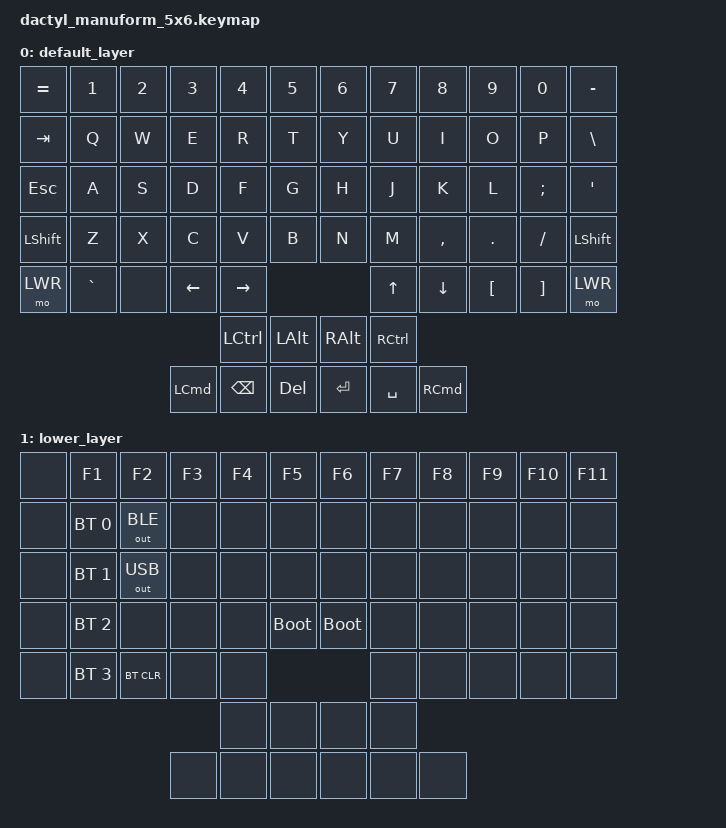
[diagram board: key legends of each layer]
#include <behaviors.dtsi>
#include <dt-bindings/zmk/keys.h>
#include <dt-bindings/zmk/bt.h>
#include <dt-bindings/zmk/outputs.h>

#define DEFAULT 0
#define LWR 1

/ {
    keymap {
        compatible = "zmk,keymap";

        default_layer {
            // display_name = "Default";
            bindings = <
                &kp EQUAL   &kp N1      &kp N2      &kp N3      &kp N4      &kp N5              &kp N6      &kp N7      &kp N8      &kp N9      &kp N0      &kp MINUS
                &kp TAB     &kp Q       &kp W       &kp E       &kp R       &kp T               &kp Y       &kp U       &kp I       &kp O       &kp P       &kp BSLH
                &kp ESC     &kp A       &kp S       &kp D       &kp F       &kp G               &kp H       &kp J       &kp K       &kp L       &kp SEMI    &kp APOS
                &kp LSHFT   &kp Z       &kp X       &kp C       &kp V       &kp B               &kp N       &kp M       &kp COMMA   &kp DOT     &kp FSLH    &kp LSHFT
                &mo LWR     &kp GRAVE   &none       &kp LEFT    &kp RIGHT                                   &kp UP      &kp DOWN    &kp LBKT    &kp RBKT    &mo LWR
                                                                &kp LCTRL    &kp LALT           &kp RALT    &kp RCTRL    
                                                    &kp LCMD    &kp BSPC    &kp DEL             &kp ENTER   &kp SPACE   &kp RCMD
            >;
        };

        lower_layer {
            // display_name = "Lower";
            bindings = <
                &none   &kp F1          &kp F2          &kp F3      &kp F4      &kp F5              &kp F6      &kp F7      &kp F8      &kp F9      &kp F10     &kp F11 
                &none   &bt BT_SEL 0    &out OUT_BLE    &none       &none       &none               &none       &none       &none       &none       &none       &none
                &none   &bt BT_SEL 1    &out OUT_USB    &none       &none       &none               &none       &none       &none       &none       &none       &none
                &none   &bt BT_SEL 2    &none           &none       &none       &bootloader         &bootloader &none       &none       &none       &none       &none
                &none   &bt BT_SEL 3    &bt BT_CLR      &none       &none                                       &none       &none       &none       &none       &none
                                                                    &none       &none               &none       &none    
                                                        &none       &none       &none               &none       &none       &none
            >;
        };
    };
};
